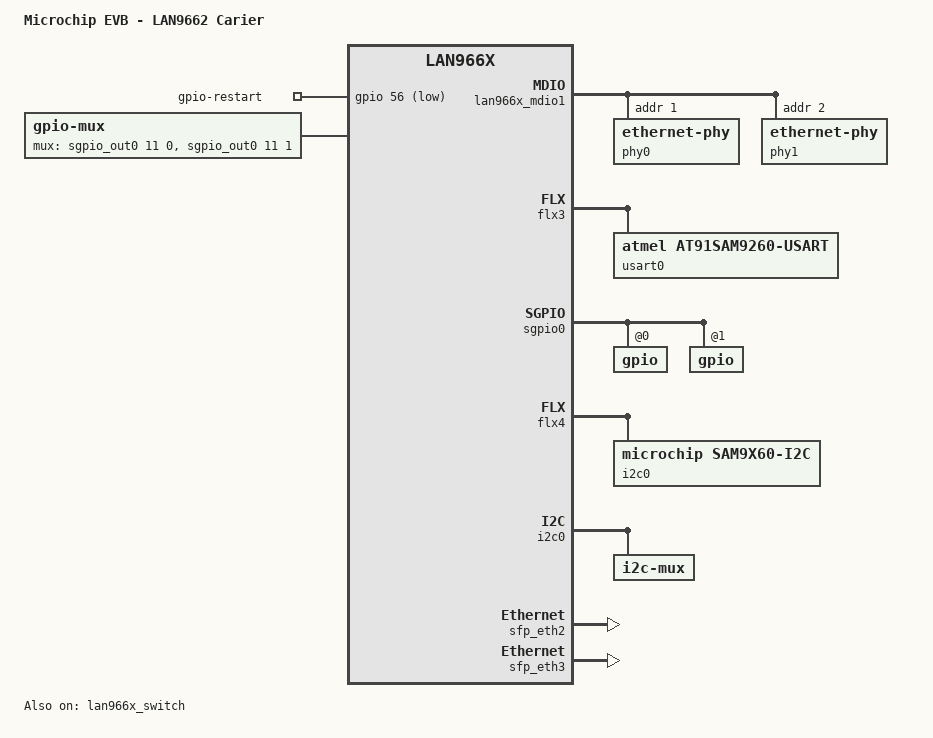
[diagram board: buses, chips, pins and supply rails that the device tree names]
// SPDX-License-Identifier: (GPL-2.0+ OR MIT)
/*
 * lan966x_pcb8309.dts - Device Tree file for PCB8309
 */
/dts-v1/;
#include "lan9662_hsio_mode_1.dtsi"

/ {
	model = "Microchip EVB - LAN9662 Carier";
	compatible = "microchip,lan966x-sunrise", "microchip,lan966x";

	gpio-restart {
		compatible = "gpio-restart";
		gpios = <&gpio 56 GPIO_ACTIVE_LOW>;
		priority = <200>;
	};

	aliases {
		i2c102 = &i2c102;
		i2c103 = &i2c103;
	};
};

&lan966x_mdio1 {
	status = "okay";

	phy0: ethernet-phy@1 {
		reg = <1>;
	};

	phy1: ethernet-phy@2 {
		reg = <2>;
	};
};

&lan966x_switch {
	status = "okay";
};

&port0 {
	status = "okay";
	phy-handle = <&phy0>;

	#address-cells = <1>;
	#size-cells = <0>;
};

&port1 {
	status = "okay";
	phy-handle = <&phy1>;

	#address-cells = <1>;
	#size-cells = <0>;
};

&flx3 {
	atmel,flexcom-mode = <ATMEL_FLEXCOM_MODE_USART>;
	status = "okay";

	usart0: serial@200 {
		compatible = "atmel,at91sam9260-usart";
		reg = <0x200 0x200>;
		interrupts = <GIC_SPI 51 IRQ_TYPE_LEVEL_HIGH>;
		clocks = <&nic_clk>;
		clock-names = "usart";
		assinged-clocks = <&clks GCK_ID_FLEXCOM3>;
		assigned-clock-rates = <30000000>;
		pinctrl-0 = <&fc3_b_pins>, <&fc_shrd7_pins>, <&fc_shrd8_pins>;
		pinctrl-names = "default";
		status = "okay";
	};
};

&sgpio0 {
	status = "okay";
	microchip,sgpio-port-ranges = <0 3>, <8 11>;
	gpio@0 {
		ngpios = <64>;
	};
	gpio@1 {
		ngpios = <64>;
	};
};

&flx4 {
	atmel,flexcom-mode = <ATMEL_FLEXCOM_MODE_TWI>;
	status = "okay";

	i2c0: i2c@600 {
		compatible = "microchip,sam9x60-i2c";
		reg = <0x600 0x200>;
		interrupts = <GIC_SPI 52 IRQ_TYPE_LEVEL_HIGH>;
		#address-cells = <1>;
		#size-cells = <0>;
		clocks = <&nic_clk>;
		pinctrl-0 = <&fc4_b_pins>;
		pinctrl-names = "default";
		i2c-analog-filter;
		i2c-digital-filter;
		i2c-digital-filter-width-ns = <35>;
		i2c-sda-hold-time-ns = <1500>;
		status = "okay";
	};
};

&apb {
	mux: mux-controller {
		compatible = "gpio-mux";
		#mux-control-cells = <0>;

		mux-gpios = <&sgpio_out0 11 0 GPIO_ACTIVE_HIGH>, // p11b0
			    <&sgpio_out0 11 1 GPIO_ACTIVE_HIGH>; // p11b1
	};

	i2c-mux {
		compatible = "i2c-mux";
		#address-cells = <1>;
		#size-cells = <0>;

		mux-controls = <&mux>;

		i2c-parent = <&i2c0>;
		settle-time-us = <10000>; /* The signal needs to get stabilized */

		i2c102: i2c_sfp@1 {
			reg = <1>;
			#address-cells = <1>;
			#size-cells = <0>;
		};
		i2c103: i2c_sfp@2 {
			reg = <2>;
			#address-cells = <1>;
			#size-cells = <0>;
		};
	};

	sfp_eth2: sfp-eth2 {
		compatible       = "sff,sfp";
		i2c-bus          = <&i2c102>;
		tx-disable-gpios = <&sgpio_out0 10 0 GPIO_ACTIVE_LOW>;
		los-gpios        = <&sgpio_in0  2 0 GPIO_ACTIVE_HIGH>;
		mod-def0-gpios   = <&sgpio_in0  2 1 GPIO_ACTIVE_LOW>;
		tx-fault-gpios   = <&sgpio_in0  1 0 GPIO_ACTIVE_HIGH>;
	};

	sfp_eth3: sfp-eth3 {
		compatible       = "sff,sfp";
		i2c-bus          = <&i2c103>;
		tx-disable-gpios = <&sgpio_out0 10 1 GPIO_ACTIVE_LOW>;
		los-gpios        = <&sgpio_in0  3 0 GPIO_ACTIVE_HIGH>;
		mod-def0-gpios   = <&sgpio_in0  3 1 GPIO_ACTIVE_LOW>;
		tx-fault-gpios   = <&sgpio_in0  1 1 GPIO_ACTIVE_HIGH>;
	};
};

&port2 {
	status = "okay";

	sfp = <&sfp_eth2>;
	managed = "in-band-status";

	#address-cells = <1>;
	#size-cells = <0>;
};

&port3 {
	status = "okay";

	sfp = <&sfp_eth3>;
	managed = "in-band-status";

	#address-cells = <1>;
	#size-cells = <0>;
};
